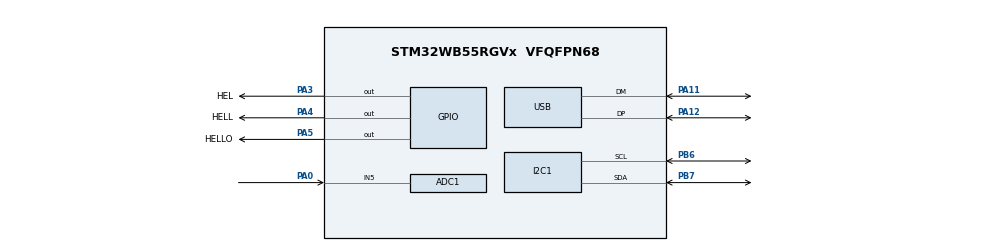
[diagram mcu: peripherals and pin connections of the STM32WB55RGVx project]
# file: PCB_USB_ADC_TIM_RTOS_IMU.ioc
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ADC1.Channel-0\#ChannelRegularConversion=ADC_CHANNEL_5
ADC1.ContinuousConvMode=ENABLE
ADC1.DMAContinuousRequests=ENABLE
ADC1.NbrOfConversionFlag=1
ADC1.OffsetNumber-0\#ChannelRegularConversion=ADC_OFFSET_NONE
ADC1.Rank-0\#ChannelRegularConversion=1
ADC1.SamplingTime-0\#ChannelRegularConversion=ADC_SAMPLETIME_247CYCLES_5
ADC1.master=1
Dma.ADC1.0.Direction=DMA_PERIPH_TO_MEMORY
Dma.ADC1.0.EventEnable=DISABLE
Dma.ADC1.0.Instance=DMA1_Channel1
Dma.ADC1.0.MemDataAlignment=DMA_MDATAALIGN_HALFWORD
Dma.ADC1.0.MemInc=DMA_MINC_ENABLE
Dma.ADC1.0.Mode=DMA_CIRCULAR
Dma.ADC1.0.PeriphDataAlignment=DMA_PDATAALIGN_HALFWORD
Dma.ADC1.0.PeriphInc=DMA_PINC_DISABLE
Dma.ADC1.0.Polarity=HAL_DMAMUX_REQ_GEN_RISING
Dma.ADC1.0.Priority=DMA_PRIORITY_LOW
Dma.ADC1.0.RequestNumber=1
Dma.ADC1.0.SignalID=NONE
Dma.ADC1.0.SyncEnable=DISABLE
Dma.ADC1.0.SyncPolarity=HAL_DMAMUX_SYNC_NO_EVENT
Dma.ADC1.0.SyncRequestNumber=1
Dma.ADC1.0.SyncSignalID=NONE
Dma.Request0=ADC1
FREERTOS.Mutexes01=TransmitMutex,Dynamic,NULL,Available
FREERTOS.Queues01=AudioQueue,1,uint8_t*,0,Dynamic,NULL,NULL
FREERTOS.Tasks01=defaultTask,40,128,StartDefaultTask,Default,NULL,Dynamic,NULL,NULL;Task1,24,1024,task1_handler,Default,NULL,Dynamic,NULL,NULL
FREERTOS.configTICK_RATE_HZ=800
FREERTOS.configTOTAL_HEAP_SIZE=32768
FREERTOS.configUSE_NEWLIB_REENTRANT=1
I2C1.Timing=0x10B17DB5
Mcu.Family=STM32WB
Mcu.Name=STM32WB55RGVx
Mcu.Package=VFQFPN68
NVIC.ADC1_IRQn=true\:5\:0\:false\:false\:true\:true\:true\:true\:true
NVIC.DMA1_Channel1_IRQn=true\:5\:0\:false\:false\:true\:true\:false\:true\:true
NVIC.PriorityGroup=NVIC_PRIORITYGROUP_4
NVIC.TIM1_UP_TIM16_IRQn=true\:15\:0\:false\:false\:true\:false\:false\:true\:true
NVIC.TIM2_IRQn=true\:5\:0\:false\:false\:true\:true\:true\:true\:true
NVIC.TimeBase=TIM1_UP_TIM16_IRQn
NVIC.TimeBaseIP=TIM1
NVIC.USB_LP_IRQn=true\:5\:0\:false\:false\:true\:true\:false\:true\:true
PA0.Signal=ADCx_IN5
PA11.Mode=Device
PA11.Signal=USB_DM
PA12.Mode=Device
PA12.Signal=USB_DP
PA13.Mode=Trace_Asynchronous_SW
PA13.Signal=SYS_JTMS-SWDIO
PA14.Mode=Trace_Asynchronous_SW
PA14.Signal=SYS_JTCK-SWCLK
PA3.GPIO_Label=HEL
PA3.Signal=GPIO_Output
PA4.GPIO_Label=HELL
PA4.Signal=GPIO_Output
PA5.GPIO_Label=HELLO
PA5.Signal=GPIO_Output
PB3.Mode=Trace_Asynchronous_SW
PB3.Signal=SYS_JTDO-SWO
PB6.Mode=I2C
PB6.Signal=I2C1_SCL
PB7.Mode=I2C
PB7.Signal=I2C1_SDA
PC14-OSC32_IN.Mode=LSE-External-Oscillator
PC14-OSC32_IN.Signal=RCC_OSC32_IN
PC15-OSC32_OUT.Mode=LSE-External-Oscillator
PC15-OSC32_OUT.Signal=RCC_OSC32_OUT
ProjectManager.HeapSize=0x200
ProjectManager.StackSize=0x400
ProjectManager.TargetToolchain=STM32CubeIDE
RCC.ADCFreq_Value=48000000
RCC.AHB2CLKDivider=RCC_SYSCLK_DIV2
RCC.AHBFreq_Value=64000000
RCC.APB1Freq_Value=64000000
RCC.APB1TimFreq_Value=64000000
RCC.APB2Freq_Value=64000000
RCC.APB2TimFreq_Value=64000000
RCC.APB3Freq_Value=16000000
RCC.CK48CLockSelection=RCC_USBCLKSOURCE_HSI48
RCC.CortexFreq_Value=64000000
RCC.HCLKFreq_Value=64000000
RCC.HSE_VALUE=8000000
RCC.HSI48_VALUE=48000000
RCC.HSI_VALUE=16000000
RCC.PLLN=32
RCC.PLLSAI1N=24
RCC.SYSCLKFreq_VALUE=64000000
RCC.SYSCLKSource=RCC_SYSCLKSOURCE_PLLCLK
RCC.USBFreq_Value=48000000
RCC.VCOOutputFreq_Value=128000000
SH.ADCx_IN5.0=ADC1_IN5,IN5-Single-Ended
TIM2.AutoReloadPreload=TIM_AUTORELOAD_PRELOAD_ENABLE
TIM2.Period=2560000-1
TIM2.TIM_MasterOutputTrigger=TIM_TRGO_UPDATE
USB_DEVICE.CLASS_NAME_FS=CDC
USB_DEVICE.VirtualMode=Cdc
USB_DEVICE.VirtualModeFS=Cdc_FS
VP_FREERTOS_VS_CMSIS_V2.Mode=CMSIS_V2
VP_MEMORYMAP_VS_MEMORYMAP.Mode=CurAppReg
VP_SYS_VS_tim1.Mode=TIM1
VP_TIM2_VS_ClockSourceINT.Mode=Internal
VP_USB_DEVICE_VS_USB_DEVICE_CDC_FS.Mode=CDC_FS
board=custom

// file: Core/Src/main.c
/* USER CODE BEGIN Header */
/**
  ******************************************************************************
  * @file           : main.c
  * @brief          : Main program body
  ******************************************************************************
  * @attention
  *
  * Copyright (c) 2025 STMicroelectronics.
  * All rights reserved.
  *
  * This software is licensed under terms that can be found in the LICENSE file
  * in the root directory of this software component.
  * If no LICENSE file comes with this software, it is provided AS-IS.
  *
  ******************************************************************************
  */
/* USER CODE END Header */
#include "main.h"
#include "cmsis_os.h"
#include "usb_device.h"

/* USER CODE BEGIN Includes */
#include <stdio.h>
#include <stdint.h>
#include <string.h>
#include "usbd_cdc_if.h"

// BMI270 libs
#include "bmi160_wrapper.h"
#include "BMI270_SensorAPI-master/bmi270.h"
#include "BMI270_SensorAPI-master/common.h"
/* USER CODE END Includes */

/* USER CODE BEGIN PTD */
BMI160_t imu_t;
/* USER CODE END PTD */

/* USER CODE BEGIN PM */
// BMI 270 Macros
/*! Earth's gravity in m/s^2 */
#define GRAVITY_EARTH  (9.80665f)

/*! Macros to select the sensors                   */
#define ACCEL          UINT8_C(0x00)
#define GYRO           UINT8_C(0x01)
/* USER CODE END PM */

ADC_HandleTypeDef hadc1;
DMA_HandleTypeDef hdma_adc1;

I2C_HandleTypeDef hi2c1;

TIM_HandleTypeDef htim2;

/* Definitions for defaultTask */
osThreadId_t defaultTaskHandle;
const osThreadAttr_t defaultTask_attributes = {
  .name = "defaultTask",
  .priority = (osPriority_t) osPriorityHigh,
  .stack_size = 128 * 4
};
/* Definitions for Task1 */
osThreadId_t Task1Handle;
const osThreadAttr_t Task1_attributes = {
  .name = "Task1",
  .priority = (osPriority_t) osPriorityNormal,
  .stack_size = 1024 * 4
};
/* Definitions for AudioQueue */
osMessageQueueId_t AudioQueueHandle;
const osMessageQueueAttr_t AudioQueue_attributes = {
  .name = "AudioQueue"
};
/* Definitions for TransmitMutex */
osMutexId_t TransmitMutexHandle;
const osMutexAttr_t TransmitMutex_attributes = {
  .name = "TransmitMutex"
};
/* USER CODE BEGIN PV */
uint16_t ADC_reading = 0;
uint8_t test = 0;
char msg[50];
uint8_t status = 128;
uint8_t flag = 0;
/* USER CODE END PV */

void SystemClock_Config(void);
void PeriphCommonClock_Config(void);
static void MX_GPIO_Init(void);
static void MX_DMA_Init(void);
static void MX_ADC1_Init(void);
static void MX_TIM2_Init(void);
static void MX_I2C1_Init(void);
void StartDefaultTask(void *argument);
void task1_handler(void *argument);

/* USER CODE BEGIN PFP */
void USB_transmit(uint8_t *buffer, size_t length);

/* IMU */
static int8_t set_accel_gyro_config(struct bmi2_dev *bmi);
static float lsb_to_mps2(int16_t val, float g_range, uint8_t bit_width);
static float lsb_to_dps(int16_t val, float dps, uint8_t bit_width);
/* IMU END */
/* USER CODE END PFP */

int main(void)
{

  /* MCU Configuration--------------------------------------------------------*/

  /* Reset of all peripherals, Initializes the Flash interface and the Systick. */
  HAL_Init();

  /* Configure the system clock */
  SystemClock_Config();

  /* Configure the peripherals common clocks */
  PeriphCommonClock_Config();

  /* Initialize all configured peripherals */
  MX_GPIO_Init();
  MX_DMA_Init();
  MX_ADC1_Init();
  MX_TIM2_Init();
  MX_I2C1_Init();
  /* USER CODE BEGIN 2 */
  test++;
  HAL_ADC_Start_DMA(&hadc1, (uint32_t*)&ADC_reading, 1);
  test++;
  status = HAL_TIM_Base_Start_IT(&htim2);
  /* USER CODE END 2 */

  /* Init scheduler */
  osKernelInitialize();
  /* Create the mutex(es) */
  /* creation of TransmitMutex */
  TransmitMutexHandle = osMutexNew(&TransmitMutex_attributes);

  /* Create the queue(s) */
  /* creation of AudioQueue */
  AudioQueueHandle = osMessageQueueNew (1, sizeof(uint8_t*), &AudioQueue_attributes);

  /* Create the thread(s) */
  /* creation of defaultTask */
  defaultTaskHandle = osThreadNew(StartDefaultTask, NULL, &defaultTask_attributes);

  /* creation of Task1 */
  Task1Handle = osThreadNew(task1_handler, NULL, &Task1_attributes);

  /* Start scheduler */
  osKernelStart();

  /* We should never get here as control is now taken by the scheduler */

  /* Infinite loop */
  while (1)
  {

  }
}

void SystemClock_Config(void)
{
  RCC_OscInitTypeDef RCC_OscInitStruct = {0};
  RCC_ClkInitTypeDef RCC_ClkInitStruct = {0};

  /** Configure the main internal regulator output voltage
  */
  __HAL_PWR_VOLTAGESCALING_CONFIG(PWR_REGULATOR_VOLTAGE_SCALE1);

  /** Initializes the RCC Oscillators according to the specified parameters
  * in the RCC_OscInitTypeDef structure.
  */
  RCC_OscInitStruct.OscillatorType = RCC_OSCILLATORTYPE_HSI48|RCC_OSCILLATORTYPE_HSI
                              |RCC_OSCILLATORTYPE_MSI;
  RCC_OscInitStruct.HSIState = RCC_HSI_ON;
  RCC_OscInitStruct.MSIState = RCC_MSI_ON;
  RCC_OscInitStruct.HSI48State = RCC_HSI48_ON;
  RCC_OscInitStruct.HSICalibrationValue = RCC_HSICALIBRATION_DEFAULT;
  RCC_OscInitStruct.MSICalibrationValue = RCC_MSICALIBRATION_DEFAULT;
  RCC_OscInitStruct.MSIClockRange = RCC_MSIRANGE_6;
  RCC_OscInitStruct.PLL.PLLState = RCC_PLL_ON;
  RCC_OscInitStruct.PLL.PLLSource = RCC_PLLSOURCE_MSI;
  RCC_OscInitStruct.PLL.PLLM = RCC_PLLM_DIV1;
  RCC_OscInitStruct.PLL.PLLN = 32;
  RCC_OscInitStruct.PLL.PLLP = RCC_PLLP_DIV2;
  RCC_OscInitStruct.PLL.PLLR = RCC_PLLR_DIV2;
  RCC_OscInitStruct.PLL.PLLQ = RCC_PLLQ_DIV2;
  if (HAL_RCC_OscConfig(&RCC_OscInitStruct) != HAL_OK)
  {
    Error_Handler();
  }

  /** Configure the SYSCLKSource, HCLK, PCLK1 and PCLK2 clocks dividers
  */
  RCC_ClkInitStruct.ClockType = RCC_CLOCKTYPE_HCLK4|RCC_CLOCKTYPE_HCLK2
                              |RCC_CLOCKTYPE_HCLK|RCC_CLOCKTYPE_SYSCLK
                              |RCC_CLOCKTYPE_PCLK1|RCC_CLOCKTYPE_PCLK2;
  RCC_ClkInitStruct.SYSCLKSource = RCC_SYSCLKSOURCE_PLLCLK;
  RCC_ClkInitStruct.AHBCLKDivider = RCC_SYSCLK_DIV1;
  RCC_ClkInitStruct.APB1CLKDivider = RCC_HCLK_DIV1;
  RCC_ClkInitStruct.APB2CLKDivider = RCC_HCLK_DIV1;
  RCC_ClkInitStruct.AHBCLK2Divider = RCC_SYSCLK_DIV2;
  RCC_ClkInitStruct.AHBCLK4Divider = RCC_SYSCLK_DIV1;

  if (HAL_RCC_ClockConfig(&RCC_ClkInitStruct, FLASH_LATENCY_3) != HAL_OK)
  {
    Error_Handler();
  }
}

void PeriphCommonClock_Config(void)
{
  RCC_PeriphCLKInitTypeDef PeriphClkInitStruct = {0};

  /** Initializes the peripherals clock
  */
  PeriphClkInitStruct.PeriphClockSelection = RCC_PERIPHCLK_SMPS;
  PeriphClkInitStruct.SmpsClockSelection = RCC_SMPSCLKSOURCE_HSI;
  PeriphClkInitStruct.SmpsDivSelection = RCC_SMPSCLKDIV_RANGE1;

  if (HAL_RCCEx_PeriphCLKConfig(&PeriphClkInitStruct) != HAL_OK)
  {
    Error_Handler();
  }
}

static void MX_ADC1_Init(void)
{

  ADC_ChannelConfTypeDef sConfig = {0};

  /** Common config
  */
  hadc1.Instance = ADC1;
  hadc1.Init.ClockPrescaler = ADC_CLOCK_ASYNC_DIV1;
  hadc1.Init.Resolution = ADC_RESOLUTION_12B;
  hadc1.Init.DataAlign = ADC_DATAALIGN_RIGHT;
  hadc1.Init.ScanConvMode = ADC_SCAN_DISABLE;
  hadc1.Init.EOCSelection = ADC_EOC_SINGLE_CONV;
  hadc1.Init.LowPowerAutoWait = DISABLE;
  hadc1.Init.ContinuousConvMode = ENABLE;
  hadc1.Init.NbrOfConversion = 1;
  hadc1.Init.DiscontinuousConvMode = DISABLE;
  hadc1.Init.ExternalTrigConv = ADC_SOFTWARE_START;
  hadc1.Init.ExternalTrigConvEdge = ADC_EXTERNALTRIGCONVEDGE_NONE;
  hadc1.Init.DMAContinuousRequests = ENABLE;
  hadc1.Init.Overrun = ADC_OVR_DATA_PRESERVED;
  hadc1.Init.OversamplingMode = DISABLE;
  if (HAL_ADC_Init(&hadc1) != HAL_OK)
  {
    Error_Handler();
  }

  /** Configure Regular Channel
  */
  sConfig.Channel = ADC_CHANNEL_5;
  sConfig.Rank = ADC_REGULAR_RANK_1;
  sConfig.SamplingTime = ADC_SAMPLETIME_247CYCLES_5;
  sConfig.SingleDiff = ADC_SINGLE_ENDED;
  sConfig.OffsetNumber = ADC_OFFSET_NONE;
  sConfig.Offset = 0;
  if (HAL_ADC_ConfigChannel(&hadc1, &sConfig) != HAL_OK)
  {
    Error_Handler();
  }

}

static void MX_I2C1_Init(void)
{

  hi2c1.Instance = I2C1;
  hi2c1.Init.Timing = 0x10B17DB5;
  hi2c1.Init.OwnAddress1 = 0;
  hi2c1.Init.AddressingMode = I2C_ADDRESSINGMODE_7BIT;
  hi2c1.Init.DualAddressMode = I2C_DUALADDRESS_DISABLE;
  hi2c1.Init.OwnAddress2 = 0;
  hi2c1.Init.OwnAddress2Masks = I2C_OA2_NOMASK;
  hi2c1.Init.GeneralCallMode = I2C_GENERALCALL_DISABLE;
  hi2c1.Init.NoStretchMode = I2C_NOSTRETCH_DISABLE;
  if (HAL_I2C_Init(&hi2c1) != HAL_OK)
  {
    Error_Handler();
  }

  /** Configure Analogue filter
  */
  if (HAL_I2CEx_ConfigAnalogFilter(&hi2c1, I2C_ANALOGFILTER_ENABLE) != HAL_OK)
  {
    Error_Handler();
  }

  /** Configure Digital filter
  */
  if (HAL_I2CEx_ConfigDigitalFilter(&hi2c1, 0) != HAL_OK)
  {
    Error_Handler();
  }

}

static void MX_TIM2_Init(void)
{

  TIM_ClockConfigTypeDef sClockSourceConfig = {0};
  TIM_MasterConfigTypeDef sMasterConfig = {0};

  htim2.Instance = TIM2;
  htim2.Init.Prescaler = 0;
  htim2.Init.CounterMode = TIM_COUNTERMODE_UP;
  htim2.Init.Period = 2560000-1;
  htim2.Init.ClockDivision = TIM_CLOCKDIVISION_DIV1;
  htim2.Init.AutoReloadPreload = TIM_AUTORELOAD_PRELOAD_ENABLE;
  if (HAL_TIM_Base_Init(&htim2) != HAL_OK)
  {
    Error_Handler();
  }
  sClockSourceConfig.ClockSource = TIM_CLOCKSOURCE_INTERNAL;
  if (HAL_TIM_ConfigClockSource(&htim2, &sClockSourceConfig) != HAL_OK)
  {
    Error_Handler();
  }
  sMasterConfig.MasterOutputTrigger = TIM_TRGO_UPDATE;
  sMasterConfig.MasterSlaveMode = TIM_MASTERSLAVEMODE_DISABLE;
  if (HAL_TIMEx_MasterConfigSynchronization(&htim2, &sMasterConfig) != HAL_OK)
  {
    Error_Handler();
  }

}

static void MX_DMA_Init(void)
{

  /* DMA controller clock enable */
  __HAL_RCC_DMAMUX1_CLK_ENABLE();
  __HAL_RCC_DMA1_CLK_ENABLE();

  /* DMA interrupt init */
  /* DMA1_Channel1_IRQn interrupt configuration */
  HAL_NVIC_SetPriority(DMA1_Channel1_IRQn, 5, 0);
  HAL_NVIC_EnableIRQ(DMA1_Channel1_IRQn);

}

static void MX_GPIO_Init(void)
{
  GPIO_InitTypeDef GPIO_InitStruct = {0};

  /* GPIO Ports Clock Enable */
  __HAL_RCC_GPIOC_CLK_ENABLE();
  __HAL_RCC_GPIOA_CLK_ENABLE();
  __HAL_RCC_GPIOB_CLK_ENABLE();

  /*Configure GPIO pin Output Level */
  HAL_GPIO_WritePin(GPIOA, HEL_Pin|HELL_Pin|HELLO_Pin, GPIO_PIN_RESET);

  /*Configure GPIO pins : HEL_Pin HELL_Pin HELLO_Pin */
  GPIO_InitStruct.Pin = HEL_Pin|HELL_Pin|HELLO_Pin;
  GPIO_InitStruct.Mode = GPIO_MODE_OUTPUT_PP;
  GPIO_InitStruct.Pull = GPIO_NOPULL;
  GPIO_InitStruct.Speed = GPIO_SPEED_FREQ_LOW;
  HAL_GPIO_Init(GPIOA, &GPIO_InitStruct);

}

/* USER CODE BEGIN 4 */
void USB_transmit(uint8_t *buffer, size_t length){
	osStatus_t status;

	osMutexAcquire(TransmitMutexHandle, osWaitForever);
	status = CDC_Transmit_FS(buffer, length);
	osMutexRelease(TransmitMutexHandle);

	if (status != osOK){
		//HAL_GPIO_TogglePin(LD3_GPIO_Port, LD3_Pin);
		//HAL_GPIO_WritePin(LD3_GPIO_Port, LD3_Pin, GPIO_PIN_SET);
		//sprintf(msg, "Error, status code: %d \r\n", status);
		//sprintf(msg, "Error");
		//HAL_UART_Transmit(&huart1, (uint8_t *) msg, strlen(msg), HAL_MAX_DELAY);

	}
}

/* BMI 270 Functions */
static int8_t set_accel_gyro_config(struct bmi2_dev *bmi)
{
    /* Status of api are returned to this variable. */
    int8_t rslt;

    /* Structure to define accelerometer and gyro configuration. */
    struct bmi2_sens_config config[2];

    /* Configure the type of feature. */
    config[ACCEL].type = BMI2_ACCEL;
    config[GYRO].type = BMI2_GYRO;

    /* Get default configurations for the type of feature selected. */
    rslt = bmi270_set_sensor_config(config, 2, bmi);
    bmi2_error_codes_print_result(rslt);

    /* Map data ready interrupt to interrupt pin. */
    rslt = bmi2_map_data_int(BMI2_DRDY_INT, BMI2_INT1, bmi);
    bmi2_error_codes_print_result(rslt);

    if (rslt == BMI2_OK)
    {
        /* NOTE: The user can change the following configuration parameters according to their requirement. */
        /* Set Output Data Rate */
        config[ACCEL].cfg.acc.odr = BMI2_ACC_ODR_800HZ;

        /* Gravity range of the sensor (+/- 2G, 4G, 8G, 16G). */
        config[ACCEL].cfg.acc.range = BMI2_ACC_RANGE_2G;

        /* The bandwidth parameter is used to configure the number of sensor samples that are averaged
         * if it is set to 2, then 2^(bandwidth parameter) samples
         * are averaged, resulting in 4 averaged samples.
         * Note1 : For more information, refer the datasheet.
         * Note2 : A higher number of averaged samples will result in a lower noise level of the signal, but
         * this has an adverse effect on the power consumed.
         */
        config[ACCEL].cfg.acc.bwp = BMI2_ACC_NORMAL_AVG4;

        /* Enable the filter performance mode where averaging of samples
         * will be done based on above set bandwidth and ODR.
         * There are two modes
         *  0 -> Ultra low power mode
         *  1 -> High performance mode(Default)
         * For more info refer datasheet.
         */
        config[ACCEL].cfg.acc.filter_perf = BMI2_PERF_OPT_MODE;

        /* The user can change the following configuration parameters according to their requirement. */
        /* Set Output Data Rate */
        config[GYRO].cfg.gyr.odr = BMI2_GYR_ODR_800HZ;

        /* Gyroscope Angular Rate Measurement Range.By default the range is 2000dps. */
        config[GYRO].cfg.gyr.range = BMI2_GYR_RANGE_2000;

        /* Gyroscope bandwidth parameters. By default the gyro bandwidth is in normal mode. */
        config[GYRO].cfg.gyr.bwp = BMI2_GYR_NORMAL_MODE;

        /* Enable/Disable the noise performance mode for precision yaw rate sensing
         * There are two modes
         *  0 -> Ultra low power mode(Default)
         *  1 -> High performance mode
         */
        config[GYRO].cfg.gyr.noise_perf = BMI2_POWER_OPT_MODE;

        /* Enable/Disable the filter performance mode where averaging of samples
         * will be done based on above set bandwidth and ODR.
         * There are two modes
         *  0 -> Ultra low power mode
         *  1 -> High performance mode(Default)
         */
        config[GYRO].cfg.gyr.filter_perf = BMI2_PERF_OPT_MODE;

        /* Set the accel and gyro configurations. */
        rslt = bmi270_set_sensor_config(config, 2, bmi);
        bmi2_error_codes_print_result(rslt);
    }

    return rslt;
}

static float lsb_to_mps2(int16_t val, float g_range, uint8_t bit_width)
{
    double power = 2;

    float half_scale = (float)((pow((double)power, (double)bit_width) / 2.0f));

    return (GRAVITY_EARTH * val * g_range) / half_scale;
}

/*!
 * @brief This function converts lsb to degree per second for 16 bit gyro at
 * range 125, 250, 500, 1000 or 2000dps.
 */
static float lsb_to_dps(int16_t val, float dps, uint8_t bit_width)
{
    double power = 2;

    float half_scale = (float)((pow((double)power, (double)bit_width) / 2.0f));

    return (dps / (half_scale)) * (val);
}
/* BMI 270 Functions END */
/* USER CODE END 4 */

void StartDefaultTask(void *argument)
{
  /* init code for USB_Device */
  MX_USB_Device_Init();
  /* USER CODE BEGIN 5 */
  //RAVEN initiate sensor

  /* IMU Variable Setup */
  	int8_t rslt;
  	uint8_t sensor_list[2] = { BMI2_ACCEL, BMI2_GYRO };
  	struct bmi2_dev bmi; // MACIEJ transfer me to task1_handler
  	struct bmi2_sens_data sensor_data = { { 0 } };
  	struct bmi2_sens_config config;
  /* IMU Variable Setup END */

  while (BMI160_init(imu_t) == 1); // waits for IMU to be ready
  rslt = bmi2_interface_init(&bmi, BMI2_I2C_INTF);
  //bmi2_error_codes_print_result(rslt);
  rslt = bmi270_init(&bmi);
  //bmi2_error_codes_print_result(rslt);
  rslt = set_accel_gyro_config(&bmi);
  //bmi2_error_codes_print_result(rslt);
  rslt = bmi2_sensor_enable(sensor_list, 2, &bmi);
  //bmi2_error_codes_print_result(rslt);
  config.type = BMI2_ACCEL;

  if (imu_t.INIT_OK_i8 != TRUE){
	  // Check if the BMI has not initiated properly: Print or turn LED on
	  //printf("Stuck");
	  //HAL_GPIO_WritePin(LD3_GPIO_Port, LD3_Pin, SET);
  }
  /* Infinite loop */
  for(;;)
  {
	osThreadExit();
  }
  /* USER CODE END 5 */
}

void task1_handler(void *argument)
{
  /* USER CODE BEGIN task1_handler */
	uint8_t buffer[20];
	//RAVEN set up variables - if there are things needed both for initiation and taking measurements, talk to me
	/* IMU */
	float IMU_reading[6] = {0.0f, 0.0f, 0.0f, 0.0f, 0.0f, 0.0f}; // GX, GY, GZ, AX, AY, AZ
	/* IMU END */
  /* Infinite loop */
  for(;;)
  {
	  osThreadFlagsWait(0x01, osFlagsWaitAny, osWaitForever);
	  //RAVEN take measurement
	  /* IMU Variable Setup */
		int8_t rslt;
		struct bmi2_dev bmi; // MACIEJ I must be transfered from StartDefaultTask
		struct bmi2_sens_data sensor_data = { { 0 } };
	  /* IMU Variable Setup END */

	  bmi160ReadAccelGyro(&imu_t);
	  rslt = bmi2_get_sensor_data(&sensor_data, &bmi);
	  bmi2_error_codes_print_result(rslt);

	  /* Converting lsb to meter per second squared for 16 bit accelerometer at 2G range. */
	  IMU_reading[5] = lsb_to_mps2(sensor_data.acc.x, (float)2, bmi.resolution);
	  IMU_reading[6] = lsb_to_mps2(sensor_data.acc.y, (float)2, bmi.resolution);
	  IMU_reading[4] = lsb_to_mps2(sensor_data.acc.z, (float)2, bmi.resolution);

	  /* Converting lsb to degree per second for 16 bit gyro at 2000dps range. */
	  IMU_reading[1] = lsb_to_dps(sensor_data.gyr.x, (float)2000, bmi.resolution)*0.0174533;
	  IMU_reading[2] = lsb_to_dps(sensor_data.gyr.y, (float)2000, bmi.resolution)*0.0174533;
	  IMU_reading[0] = lsb_to_dps(sensor_data.gyr.z, (float)2000, bmi.resolution)*0.0174533;

	  sprintf((char*)buffer,"%d\r\n",IMU_reading);
	  USB_transmit(buffer, sizeof(buffer));

  }
  /* USER CODE END task1_handler */
}

void HAL_TIM_PeriodElapsedCallback(TIM_HandleTypeDef *htim)
{
  if (htim->Instance == TIM1)
  {
    HAL_IncTick();
  }
  /* USER CODE BEGIN Callback 1 */
  if (htim->Instance == TIM2) {
		osThreadFlagsSet(Task1Handle, 0x01);
  	/*static uint16_t sample_count = 0;
  	static uint16_t counter = 0;
  	static uint8_t buffer1[2*AUDIO_PACKET_SIZE+1];
  	buffer1[0] = (uint8_t)-128;
  	static uint8_t buffer2[2*AUDIO_PACKET_SIZE+1];
  	buffer2[0] = (uint8_t)-128;
  	static uint8_t *active_buffer = buffer1;
  	static uint8_t *passive_buffer = buffer2;
  	osStatus_t status;

  	//update buffer
  	memcpy(&active_buffer[2*sample_count+1], &counter, sizeof(uint16_t));
  	//memcpy(&active_buffer[2*sample_count+1], &ADC_reading, sizeof(uint16_t));

  	counter++;
  	sample_count++;

  	if (counter == 32000){
  		counter = 0;
  	}

  	// Use the local counter to determine when to signal
  	if(sample_count == AUDIO_PACKET_SIZE)
  	{
  		status = osMessageQueuePut(AudioQueueHandle, (const void*)&active_buffer, 0, 0);
  		if (status != osOK){
  			HAL_GPIO_TogglePin(LD3_GPIO_Port, LD3_Pin);
  		}
  		//swap buffers so buffer points to the other buffer
  		uint8_t *temp = active_buffer;
  		active_buffer = passive_buffer;
  		passive_buffer = temp;
  		sample_count = 0;
  		osThreadFlagsSet(Task1Handle, 0x01);
  	}*/
    }
  /* USER CODE END Callback 1 */
}

void Error_Handler(void)
{
  __disable_irq();
  while (1)
  {
  }
}
